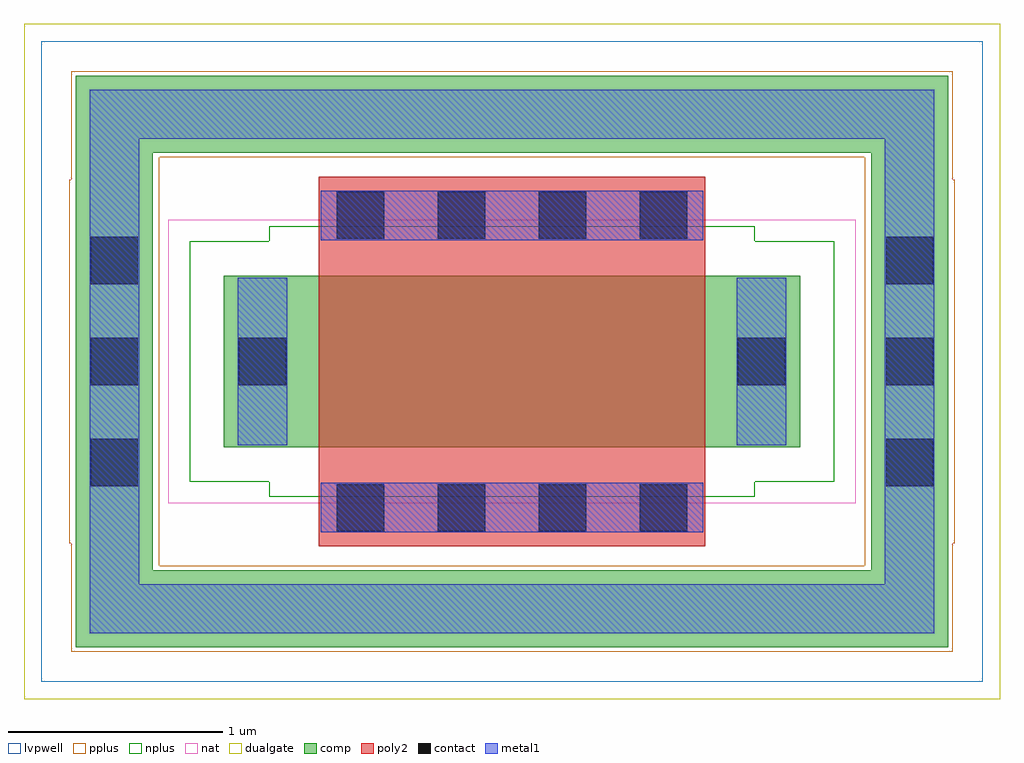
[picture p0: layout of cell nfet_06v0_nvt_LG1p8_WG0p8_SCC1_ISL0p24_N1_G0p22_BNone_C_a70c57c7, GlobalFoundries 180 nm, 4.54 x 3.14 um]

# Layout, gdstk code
import gdstk
lib = gdstk.Library(unit=1e-6, precision=1e-09)
def R(c, l, rs):  # rectangles x0, y0, x1, y1
    for r in rs: c.add(gdstk.rectangle(r[:2], r[2:], *l))
def A(c, l, x, y, w, h, nx, ny, dx, dy):  # array of equal rectangles
    R(c, l, [(x+i*dx, y+j*dy, x+i*dx+w, y+j*dy+h) for i in range(nx) for j in range(ny)])
def P(c, l, *ps):  # polygons
    for p in ps: c.add(gdstk.Polygon(p, *l))
nat = (5, 0)
comp = (22, 0)
poly2 = (30, 0)
pplus = (31, 0)
nplus = (32, 0)
contact = (33, 0)
metal1 = (34, 0)
dualgate = (55, 0)
lvpwell = (204, 0)

nfet_06v0_nvt_lg1p8_wg0p = lib.new_cell('nfet_06v0_nvt_LG1p8_WG0p8_SCC1_ISL0p24_N1_G0p22_BNone_C_a70c57c7')
R(nfet_06v0_nvt_lg1p8_wg0p, nat, [(-1.6,-0.66,1.6,0.66)])
R(nfet_06v0_nvt_lg1p8_wg0p, comp, [(-2.03,-1.33,-1.67,1.33), (-2.03,-1.33,2.03,-0.97), (1.67,-1.33,2.03,1.33), (-2.03,-0.815,-1.67,0.815), (1.67,-0.815,2.03,0.815), (-1.34,-0.4,-0.98,0.4), (-1.275,-0.4,1.275,0.4), (0.98,-0.4,1.34,0.4), (-2.03,0.97,2.03,1.33)])
R(nfet_06v0_nvt_lg1p8_wg0p, poly2, [(-0.9,-0.86,0.9,-0.5), (-0.9,-0.75,0.9,0.75), (-0.9,0.5,0.9,0.86)])
R(nfet_06v0_nvt_lg1p8_wg0p, pplus, [(-2.05,-1.35,2.05,-0.95), (-2.05,-0.95,-1.64,-0.845), (1.64,-0.95,2.05,-0.845), (-2.06,-0.845,-1.64,0.845), (1.64,-0.845,2.06,0.845), (-2.05,0.845,-1.64,0.95), (1.64,0.845,2.05,0.95), (-2.05,0.95,2.05,1.35)])
P(nfet_06v0_nvt_lg1p8_wg0p, nplus, [(-1.13,-0.63),(-1.13,-0.56),(-1.5,-0.56),(-1.5,0.56),(-1.13,0.56),(-1.13,0.63),(1.13,0.63),(1.13,0.56),(1.5,0.56),(1.5,-0.56),(1.13,-0.56),(1.13,-0.63)])
A(nfet_06v0_nvt_lg1p8_wg0p, contact, -0.815, -0.79, 0.22, 0.22, 4, 2, 0.47, 1.36)
A(nfet_06v0_nvt_lg1p8_wg0p, contact, -1.96, -0.58, 0.22, 0.22, 1, 3, 0, 0.47)
A(nfet_06v0_nvt_lg1p8_wg0p, contact, 1.74, -0.58, 0.22, 0.22, 1, 3, 0, 0.47)
R(nfet_06v0_nvt_lg1p8_wg0p, contact, [(-1.27,-0.11,-1.05,0.11), (1.05,-0.11,1.27,0.11)])
R(nfet_06v0_nvt_lg1p8_wg0p, metal1, [(-1.965,-1.265,-1.735,1.265), (-1.965,-1.265,1.965,-1.035), (1.735,-1.265,1.965,1.265), (-1.965,-0.805,-1.735,0.805), (1.735,-0.805,1.965,0.805), (-0.89,-0.795,0.89,-0.565), (-1.275,-0.39,-1.045,0.39), (1.045,-0.39,1.275,0.39), (-0.89,0.565,0.89,0.795), (-1.965,1.035,1.965,1.265)])
R(nfet_06v0_nvt_lg1p8_wg0p, dualgate, [(-2.27,-1.57,2.27,1.57)])
R(nfet_06v0_nvt_lg1p8_wg0p, lvpwell, [(-2.19,-1.49,2.19,1.49)])

lib.write_gds('nfet_06v0_nvt_LG1p8_WG0p8_SCC1_ISL0p24_N1_G0p22_BNone_C_a70c57c7.gds')
